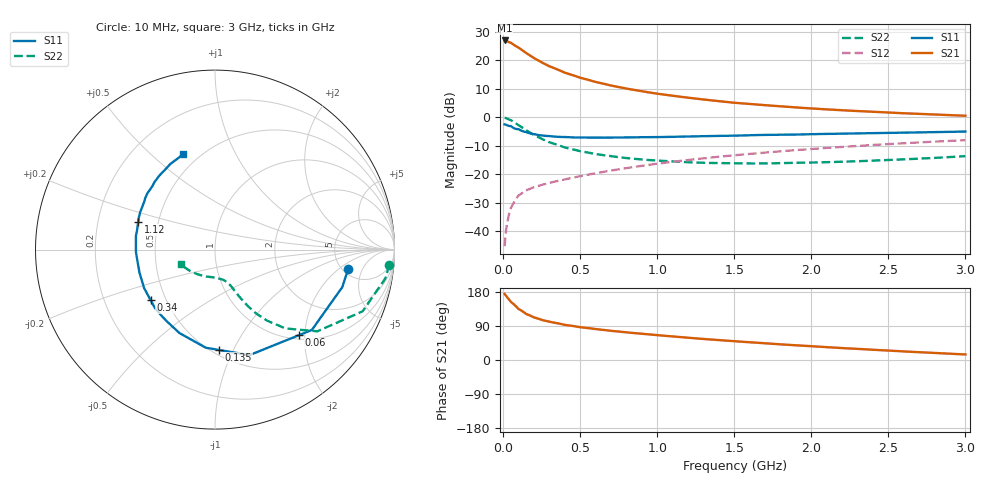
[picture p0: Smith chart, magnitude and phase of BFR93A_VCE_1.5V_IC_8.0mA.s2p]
! Infineon Technologies  Discrete & RF Semiconductors
! BFR93A
! VCE =  1.5 V,  IC =  8.0 mA
! Common Emitter S-Parameters:  Nov 2015
# GHz  S  MA  R  50
!  f  S11  S21  S12  S22
! GHz  MAG  ANG  MAG  ANG  MAG  ANG  MAG  ANG
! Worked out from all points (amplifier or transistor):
!   180 points, 10 MHz to 3 GHz, reference 50 ohm
!   highest |S21| = 26.9 dB at 10 MHz (marker M1)
!   |S21| within 3 dB of that: start of sweep to 113.3 MHz
!   unconditionally stable (mu >= 1): 586.4 MHz to end of sweep
!   at 160 MHz: K = 0.46, MSG = 23.8 dB, |S12| = -25.4 dB
!   at 1.22 GHz: K = 1.12, MAG = 8.7 dB, |S12| = -14.9 dB
!   at 3 GHz: K = 1.01, MAG = 3.6 dB, |S12| = -8.0 dB
!   S11 on the Smith chart (normalised r, x): 10 MHz: 5.59, -2.76; 60 MHz: 1.09, -1.87; 135 MHz: 0.54, -0.88; 340 MHz: 0.41, -0.29; 1.12 GHz: 0.38, +0.15; 3 GHz: 0.41, +0.64
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0.01  0.7495 -8.3  22.1 174.3  0.0055 85.9  0.9751 -4.9
0.02  0.7395 -16.4  21.81 168.8  0.0108 81.5  0.9628 -9.6
0.05  0.7012 -39.7  20.19 153.7  0.0254 71.4  0.8914 -22.7
0.06  0.6689 -45.4  19.32 150.5  0.0287 68.0  0.8544 -25.4
0.1  0.6185 -71.9  16.59 134.7  0.0423 59.7  0.7296 -38.6
0.135  0.5594 -87.8  14.2 126.0  0.0492 55.1  0.6292 -44.9
0.15  0.5491 -95.4  13.3 121.4  0.0522 53.5  0.589 -48.2
0.2  0.5053 -113.1  10.88 112.5  0.0592 51.2  0.4885 -53.9
0.26  0.4754 -127.9  8.854 104.8  0.0662 50.3  0.406 -58.0
0.3  0.4668 -135.9  7.813 100.7  0.0705 50.6  0.3645 -59.8
0.34  0.4558 -141.9  7.086 98.0  0.0749 51.3  0.3367 -60.8
0.4  0.4494 -151.4  6.035 92.7  0.0814 52.2  0.2952 -62.7
0.52  0.4387 -164.7  4.764 85.7  0.0947 54.1  0.2483 -64.6
0.6  0.4371 -171.5  4.15 81.5  0.104 55.0  0.2258 -66.0
0.7  0.4406 -178.3  3.59 77.0  0.1162 56.0  0.2068 -67.8
0.82  0.4426 174.6  3.103 72.2  0.1307 56.7  0.1899 -70.5
1.02  0.4489 164.5  2.537 64.9  0.1556 56.7  0.1725 -75.7
1.12  0.4552 160.3  2.335 61.5  0.1679 56.4  0.1668 -79.2
1.52  0.4756 146.2  1.773 49.0  0.2177 54.2  0.1548 -94.6
2.02  0.5055 131.6  1.411 35.9  0.2795 49.8  0.1607 -115.5
2.52  0.5324 119.3  1.2 24.4  0.3403 44.0  0.1787 -135.9
3  0.5607 108.3  1.06 14.6  0.3966 37.8  0.2079 -156.5
